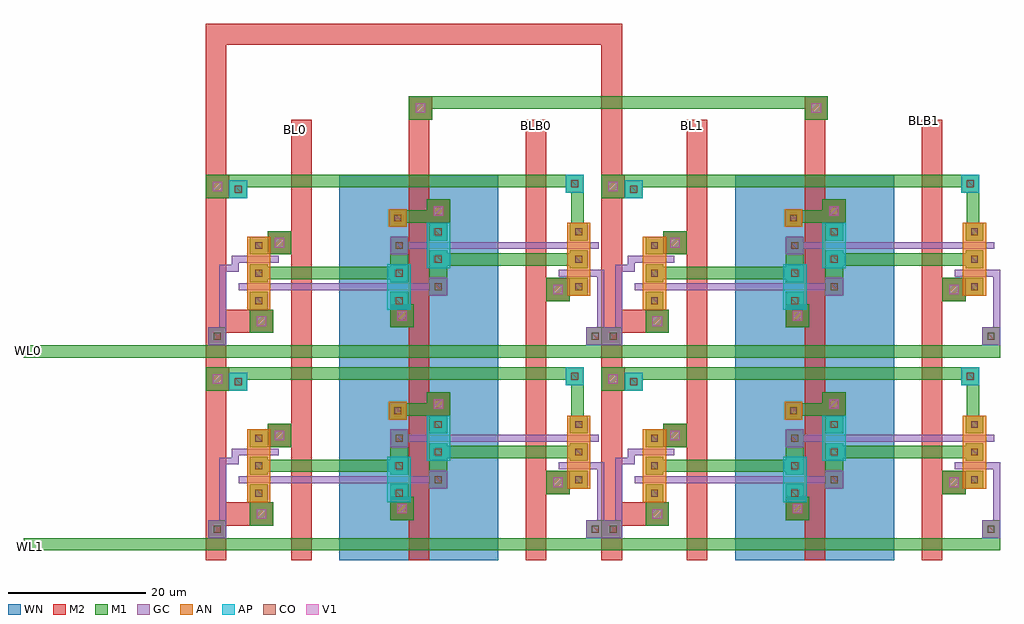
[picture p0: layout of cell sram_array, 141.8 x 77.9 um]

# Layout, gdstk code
from math import pi, radians
import gdstk
lib = gdstk.Library(unit=1e-6, precision=1e-07)
def R(c, l, rs):  # rectangles x0, y0, x1, y1
    for r in rs: c.add(gdstk.rectangle(r[:2], r[2:], *l))
def A(c, l, x, y, w, h, nx, ny, dx, dy):  # array of equal rectangles
    R(c, l, [(x+i*dx, y+j*dy, x+i*dx+w, y+j*dy+h) for i in range(nx) for j in range(ny)])
AP = (3, 1)
AN = (3, 2)
GC = (8, 1)
CO = (11, 0)
M1 = (13, 0)
V1 = (19, 0)
M2 = (20, 0)
WN = (140, 0)

cont_n = lib.new_cell('cont_n')

via_1 = lib.new_cell('via_1')
R(via_1, M1, [(-1.7,-1.7,1.7,1.7)])
R(via_1, V1, [(-0.7,-0.7,0.7,0.7)])
R(via_1, M2, [(-1.7,-1.7,1.7,1.7)])

fet_n = lib.new_cell('fet_n')
R(fet_n, AN, [(-5.3,-1.7,5.3,1.7)])
A(fet_n, CO, -4.5, -0.5, 1, 1, 3, 1, 4, 0)
A(fet_n, M1, -5.3, -1.3, 2.6, 2.6, 3, 1, 4, 0)
fet_n.add(gdstk.FlexPath([(2,-2.9),(2,2.9)], 1, ends="flush", simple_path=True, layer=8, datatype=1))  # GC
fet_n.add(gdstk.FlexPath([(-2,-2.9),(-2,2.9)], 1, ends="flush", simple_path=True, layer=8, datatype=1))  # GC

cont_g = lib.new_cell('cont_g')
R(cont_g, GC, [(-1.3,-1.3,1.3,1.3)])
R(cont_g, CO, [(-0.5,-0.5,0.5,0.5)])
R(cont_g, M1, [(-1.3,-1.3,1.3,1.3)])

fet_p = lib.new_cell('fet_p')
R(fet_p, AP, [(-3.3,-1.7,3.3,1.7)])
R(fet_p, CO, [(-2.5,-0.5,-1.5,0.5), (1.5,-0.5,2.5,0.5)])
R(fet_p, M1, [(-3.3,-1.3,-0.7,1.3), (0.7,-1.3,3.3,1.3)])
fet_p.add(gdstk.FlexPath([(0,-2.9),(0,2.9)], 1, ends="flush", simple_path=True, layer=8, datatype=1))  # GC

cont_n_1 = lib.new_cell('cont_n$1')
R(cont_n_1, AN, [(-1.3,-1.3,1.3,1.3)])
R(cont_n_1, CO, [(-0.5,-0.5,0.5,0.5)])
R(cont_n_1, M1, [(-1.3,-1.3,1.3,1.3)])

cont_p = lib.new_cell('cont_p')
R(cont_p, AP, [(-1.3,-1.3,1.3,1.3)])
R(cont_p, CO, [(-0.5,-0.5,0.5,0.5)])
R(cont_p, M1, [(-1.3,-1.3,1.3,1.3)])

sram = lib.new_cell('sram')
R(sram, GC, [(-14.4,-308.8,0.2,-307.8), (6,-308.8,7.5,-307.8), (4.4,-302.8,5.9,-301.8), (11.7,-302.8,26.3,-301.8)])
R(sram, M1, [(-24.6,-318.6,-22,-316.8), (7.5,-307,10.1,-305.6), (1.8,-305,4.4,-303.6), (4.2,-299,7.5,-297.2)])
R(sram, M2, [(-25,-320,-22,-292), (-12.6,-320,-9.6,-292), (4.5,-320,7.5,-292), (21.5,-320,24.5,-292), (-22,-315,-18.6,-311.6)])
R(sram, WN, [(-5.6,-320,17.5,-292)])
sram.add(gdstk.FlexPath([(-16,-306.3),(1.8,-306.3)], 1.8, ends="flush", simple_path=True, layer=13, datatype=0))  # M1
sram.add(gdstk.FlexPath([(10.1,-304.3),(13.7,-304.3),(27.9,-304.3)], 1.8, ends="flush", simple_path=True, layer=13, datatype=0))  # M1
sram.add(gdstk.FlexPath([(-21.1,-316.8),(-21.1,-317.7),(32.9,-317.7)], 1.8, ends="flush", simple_path=True, layer=13, datatype=0))  # M1
sram.add(gdstk.FlexPath([(-21.6,-292.9),(29.9,-292.9)], 1.8, ends="flush", simple_path=True, layer=13, datatype=0))  # M1
sram.add(gdstk.FlexPath([(29,-299),(29,-293.8)], 1.8, ends="flush", simple_path=True, layer=13, datatype=0))  # M1
sram.add(gdstk.FlexPath([(-22.5,-314.2),(-22.5,-305.6),(-20.7,-305.6),(-20.7,-303.8)], 1, ends="flush", simple_path=True, layer=8, datatype=1))  # GC
sram.add(gdstk.FlexPath([(32.1,-306.3),(32.4,-306.3),(32.4,-314.2)], 1, ends="flush", simple_path=True, layer=8, datatype=1))  # GC
sram.add(gdstk.Reference(cont_n, (2.9,-228.7)))
sram.add(gdstk.Reference(via_1, (-14.3,-301.9)))
sram.add(gdstk.Reference(via_1, (26.2,-308.7)))
sram.add(gdstk.Reference(via_1, (3.5,-312.5)))
sram.add(gdstk.Reference(via_1, (8.8,-297.3)))
sram.add(gdstk.Reference(fet_n, (-17.3,-306.3), rotation=3*pi/2))
sram.add(gdstk.Reference(cont_g, (8.8,-308.3)))
sram.add(gdstk.Reference(cont_g, (3.1,-302.3)))
sram.add(gdstk.Reference(fet_n, (29.2,-304.3), rotation=3*pi/2))
sram.add(gdstk.Reference(fet_p, (8.8,-302.3), rotation=pi/2))
sram.add(gdstk.Reference(fet_p, (3.1,-308.3), rotation=3*pi/2))
sram.add(gdstk.Reference(cont_g, (-23.3,-315.5)))
sram.add(gdstk.Reference(cont_n_1, (2.9,-298.3)))
sram.add(gdstk.Reference(cont_g, (31.6,-315.5)))
sram.add(gdstk.Reference(via_1, (-23.3,-293.7)))
sram.add(gdstk.Reference(cont_p, (28.6,-293.3)))
sram.add(gdstk.Reference(cont_p, (-20.3,-294.1)))
sram.add(gdstk.Reference(via_1, (-16.9,-313.3)))
sram.add(gdstk.Label('QB', (20,-304.5), layer=48, texttype=0))
sram.add(gdstk.Label('Q', (-10.8,-306.8), layer=48, texttype=0))
sram.add(gdstk.Label('WL', (0.9,-318.1), layer=48, texttype=0))
sram.add(gdstk.Label('Vdd', (6.6,-292.6), layer=49, texttype=0))
sram.add(gdstk.Label('BL', (-10.7,-292.6), layer=49, texttype=0))
sram.add(gdstk.Label('BLB', (22.9,-292.8), layer=49, texttype=0))
sram.add(gdstk.Label('Vss', (-23.1,-292.7), layer=49, texttype=0))

sram_array = lib.new_cell('sram_array')
sram_array.add(gdstk.FlexPath([(-28.2,-387.5),(25.9,-387.5)], 1.8, ends="flush", simple_path=True, layer=13, datatype=0))  # M1
sram_array.add(gdstk.FlexPath([(-60.7,-451.7),(-87.5,-451.7)], 1.8, ends="flush", simple_path=True, layer=13, datatype=0))  # M1
sram_array.add(gdstk.FlexPath([(-60.7,-423.7),(-87.5,-423.7)], 1.8, ends="flush", simple_path=True, layer=13, datatype=0))  # M1
sram_array.add(gdstk.FlexPath([(-59.6,-390),(-59.6,-377.6),(-2.1,-377.6),(-2.1,-390)], 3, ends="flush", simple_path=True, layer=20, datatype=0))  # M2
sram_array.add(gdstk.FlexPath([(-47.2,-398),(-47.2,-390)], 3, ends="flush", simple_path=True, layer=20, datatype=0))  # M2
sram_array.add(gdstk.FlexPath([(-30.1,-398),(-30.1,-390)], 3, ends="flush", simple_path=True, layer=20, datatype=0))  # M2
sram_array.add(gdstk.FlexPath([(-13.1,-398),(-13.1,-390)], 3, ends="flush", simple_path=True, layer=20, datatype=0))  # M2
sram_array.add(gdstk.FlexPath([(-2.1,-398),(-2.1,-390)], 3, ends="flush", simple_path=True, layer=20, datatype=0))  # M2
sram_array.add(gdstk.FlexPath([(10.3,-398),(10.3,-390)], 3, ends="flush", simple_path=True, layer=20, datatype=0))  # M2
sram_array.add(gdstk.FlexPath([(27.4,-398),(27.4,-390)], 3, ends="flush", simple_path=True, layer=20, datatype=0))  # M2
sram_array.add(gdstk.FlexPath([(44.4,-398),(44.4,-390)], 3, ends="flush", simple_path=True, layer=20, datatype=0))  # M2
sram_array.add(gdstk.FlexPath([(-59.6,-398),(-59.6,-390)], 3, ends="flush", simple_path=True, layer=20, datatype=0))  # M2
r = gdstk.Reference(sram, (-36.1,-134)); r.repetition = gdstk.Repetition(2, 2, v1=(57.5,0), v2=(0,28)); sram_array.add(r)
r = gdstk.Reference(via_1, (-29.9,-388.3)); r.repetition = gdstk.Repetition(2, 1, v1=(57.5,0), v2=(0,0)); sram_array.add(r)
sram_array.add(gdstk.Label('WL1', (-86.6,-452), layer=48, texttype=0))
sram_array.add(gdstk.Label('WL0', (-86.9,-423.6), layer=48, texttype=0))
sram_array.add(gdstk.Label('BL1', (9.6,-390.9), layer=49, texttype=0))
sram_array.add(gdstk.Label('BLB0', (-13,-390.9), layer=49, texttype=0))
sram_array.add(gdstk.Label('BLB1', (43.4,-390.2), layer=49, texttype=0))
sram_array.add(gdstk.Label('BL0', (-48,-391.4), layer=49, texttype=0))

lib.write_gds('sram_array.gds')
